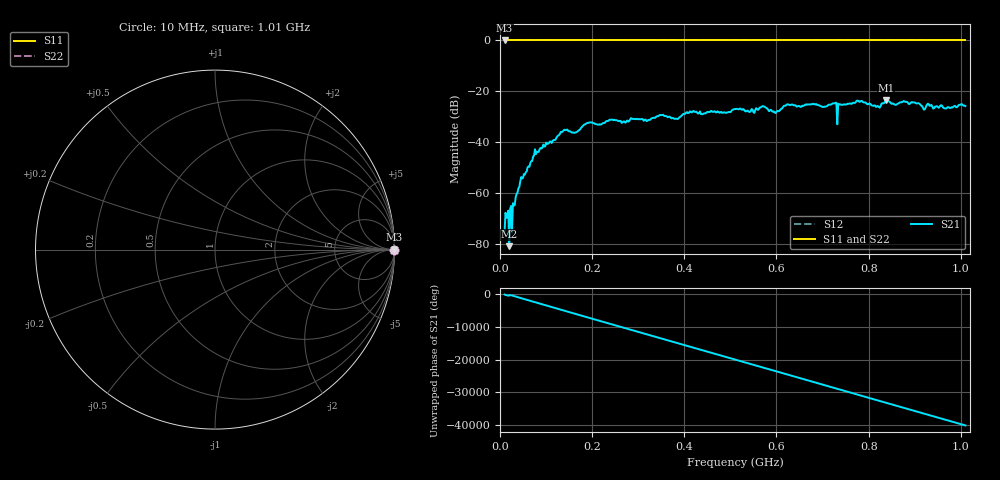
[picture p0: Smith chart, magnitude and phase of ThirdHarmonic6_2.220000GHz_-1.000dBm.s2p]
! 8/17/2025 2:26:38 AM
! C:\ANRITSUVNA\TEMP\TEMP.S2P
! CHANNEL.1
! TR.MEASUREMENT
! RAW.DATA
! RF.CORRECTION.OFF
! AVERAGING.OFF
! IF.BANDWIDTH: 5KHZ
! SWEEPTYPE:  FREQ.SWEEP(Linear)
! Reference Plane Port Info
! PORT:  PORT1  PORT2
! DISTANCE:  0  m  0  m
! TIME:  0  s  0  s
! PHASE.OFFSET:  0  deg.  0  deg.
! LOSS:  0  dB  0  dB
! REF.LOSS:  0  dB  0  dB
! REF.FREQ:  0  Hz  0  Hz
! Power Info
! POWER:  -20  dBm  -20  dBm
! EFF.POWER:  -20  dBm  -20  dBm
! SOURCE.ATTEN:  0  dB  0  dB
! TEST.ATTEN:  0  dB  0  dB
# GHZ S RI R 50.0
! FREQ.GHZ  S11RE  S11IM  S21RE  S21IM  S12RE  S12IM  S22RE  S22IM
!; PortSelection: Port_12
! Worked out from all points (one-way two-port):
!   501 points, 10 MHz to 1.01 GHz, reference 50 ohm
!   highest |S21| = -23.54 dB at 838 MHz (marker M1); lowest = -80.8 dB at 20 MHz (marker M2)
!   lowest |S11| = 0.0 dB at 10 MHz (marker M3)
!   |S11| at or under -10 dB: nowhere
!   |S22| runs from 0.0 to 0.0 dB; largest |S21 - S12| = 1.1
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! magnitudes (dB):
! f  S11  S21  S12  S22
! 10 MHz  0.0  -74.7  0.0  0.0
! 20 MHz  0.0  -80.8  0.0  0.0
! 24 MHz  0.0  -65.0  0.0  0.0
! 48 MHz  0.0  -54.2  0.0  0.0
! 76 MHz  0.0  -42.7  0.0  0.0
! 136 MHz  0.0  -35.7  0.0  0.0
! 178 MHz  0.0  -33.9  0.0  0.0
! 344 MHz  0.0  -29.7  0.0  0.0
! 382 MHz  0.0  -30.7  0.0  0.0
! 416 MHz  0.0  -28.3  0.0  0.0
! 510 MHz  0.0  -27.0  0.0  0.0
! 572 MHz  0.0  -25.9  0.0  0.0
! 596 MHz  0.0  -28.3  0.0  0.0
! 622 MHz  0.0  -25.2  0.0  0.0
! 678 MHz  0.0  -25.0  0.0  0.0
! 726 MHz  0.0  -24.7  0.0  0.0
! 736 MHz  0.0  -25.2  0.0  0.0
! 820 MHz  0.0  -25.7  0.0  0.0
! 838 MHz  0.0  -23.5  0.0  0.0
! 844 MHz  0.0  -23.9  0.0  0.0
! 920 MHz  0.0  -27.2  0.0  0.0
! 1.01 GHz  0.0  -25.8  0.0  0.0
